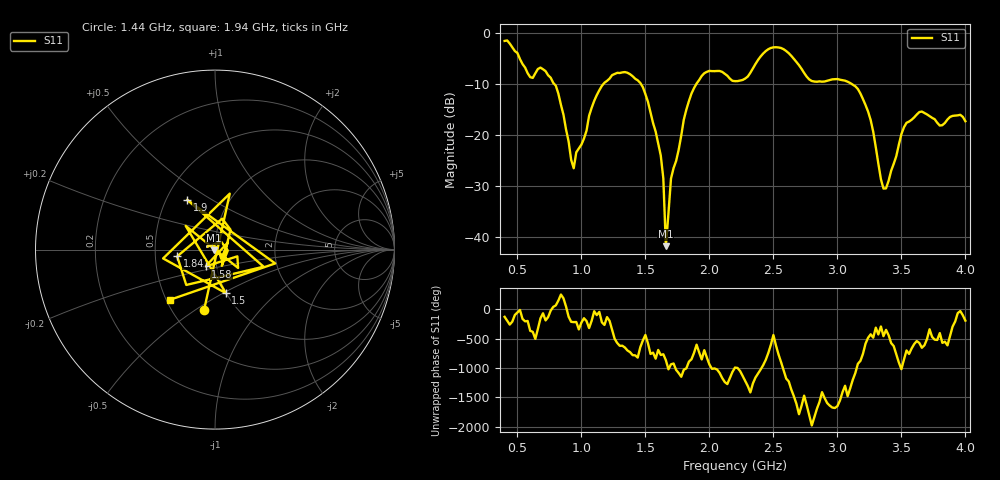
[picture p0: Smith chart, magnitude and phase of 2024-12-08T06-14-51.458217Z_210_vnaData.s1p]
!Created with skrf (http://scikit-rf.org).
# Hz S RI R 50.0
!freq ReS11 ImS11
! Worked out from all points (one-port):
!   181 points, 400 MHz to 4 GHz, reference 50 ohm
!   lowest |S11| = -41.8 dB at 1.66 GHz (marker M1), VSWR 1.02, Z = 49.3 - j0.447 ohm
!   |S11| at or under -10 dB: 786.3 MHz to 1.173 GHz (387.2 MHz wide, 39.5 % of centre); 1.464 GHz to 1.899 GHz (434.8 MHz wide, 25.9 % of centre); 3.109 GHz to end of sweep
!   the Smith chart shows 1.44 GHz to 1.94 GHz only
!   S11 on the Smith chart (normalised r, x): 1.44 GHz: 0.71, -0.54; 1.5 GHz: 1.00, -0.52; 1.58 GHz: 0.88, -0.17; 1.84 GHz: 0.65, -0.05; 1.9 GHz: 0.64, +0.39; 1.94 GHz: 0.52, -0.34
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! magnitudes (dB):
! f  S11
! 400 MHz  -1.6
! 600 MHz  -8.7
! 720 MHz  -7.5
! 800 MHz  -10.4
! 860 MHz  -16.1
! 940 MHz  -26.6
! 1.12 GHz  -12.2
! 1.3 GHz  -7.9
! 1.44 GHz  -9.3
! 1.5 GHz  -12.0
! 1.58 GHz  -19.4
! 1.64 GHz  -28.5
! 1.66 GHz  -41.8
! 1.7 GHz  -28.6
! 1.76 GHz  -22.9
! 1.84 GHz  -13.4
! 1.9 GHz  -10.0
! 1.94 GHz  -8.5
! 2.2 GHz  -9.5
! 2.48 GHz  -3.0
! 2.66 GHz  -5.1
! 2.8 GHz  -9.5
! 3.1 GHz  -9.9
! 3.24 GHz  -15.5
! 3.36 GHz  -30.5
! 3.56 GHz  -17.4
! 3.66 GHz  -15.4
! 4 GHz  -17.3
